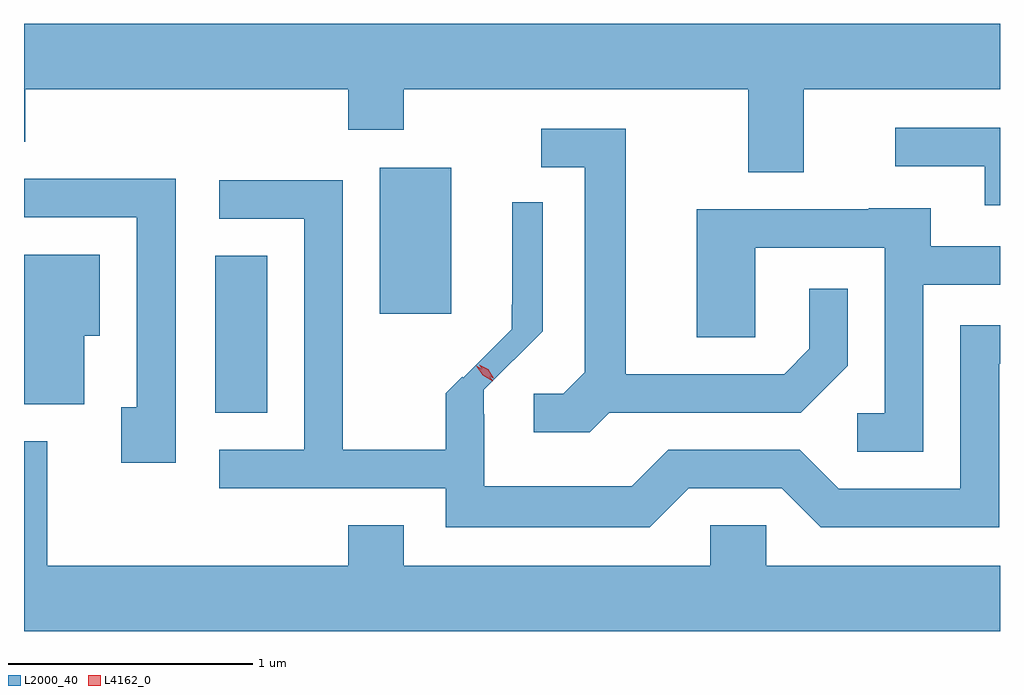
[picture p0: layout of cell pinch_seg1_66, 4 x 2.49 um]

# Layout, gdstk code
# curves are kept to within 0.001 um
import gdstk
lib = gdstk.Library(unit=1e-6, precision=1e-09)
def R(c, l, rs):  # rectangles x0, y0, x1, y1
    for r in rs: c.add(gdstk.rectangle(r[:2], r[2:], *l))
def P(c, l, *ps):  # polygons
    for p in ps: c.add(gdstk.Polygon(p, *l))
L2000_40 = (2000, 40)
L4162_0 = (4162, 0)

pinch_seg1_66 = lib.new_cell('pinch_seg1_66')
R(pinch_seg1_66, L2000_40, [(224.546,893.811,224.759,894.454), (225.221,894.216,225.514,894.814)])
P(pinch_seg1_66, L2000_40, [(226.959,895.136),(227.763,895.136),(227.763,895.404),(223.763,895.404),(223.763,894.921),(223.769,894.921),(223.769,895.136),(225.091,895.136),(225.091,894.971),(225.319,894.971),(225.319,895.136),(226.731,895.136),(226.731,894.796),(226.959,894.796)],
  [(227.763,894.979),(227.333,894.979),(227.333,894.821),(227.701,894.821),(227.701,894.661),(227.763,894.661)],
  [(226.162,893.811),(226.947,893.811),(227.139,894.004),(227.139,894.318),(226.981,894.318),(226.981,894.072),(226.879,893.969),(226.229,893.969),(226.229,894.974),(225.883,894.974),(225.883,894.816),(226.061,894.816),(226.061,893.977),(225.974,893.889),(225.853,893.889),(225.853,893.731),(226.082,893.731)],
  [(224.384,894.769),(223.763,894.769),(223.763,894.611),(224.226,894.611),(224.226,893.834),(224.161,893.834),(224.161,893.606),(224.384,893.606)],
  [(226.487,893.501),(226.869,893.501),(227.029,893.341),(227.759,893.341),(227.759,894.011),(227.763,894.011),(227.763,894.169),(227.601,894.169),(227.601,893.499),(227.102,893.499),(226.942,893.659),(226.404,893.659),(226.254,893.509),(225.649,893.509),(225.648,893.904),(225.889,894.145),(225.889,894.673),(225.763,894.673),(225.763,894.254),(225.761,894.254),(225.761,894.152),(225.564,893.955),(225.56,893.959),(225.491,893.89),(225.491,893.659),(225.069,893.659),(225.069,894.764),(224.563,894.764),(224.563,894.606),(224.911,894.606),(224.911,893.659),(224.563,893.659),(224.563,893.501),(225.491,893.501),(225.491,893.341),(226.327,893.341)],
  [(227.449,894.336),(227.763,894.336),(227.763,894.494),(227.479,894.494),(227.479,894.649),(227.225,894.649),(227.225,894.644),(226.521,894.644),(226.521,894.121),(226.759,894.121),(226.759,894.486),(227.291,894.486),(227.291,893.809),(227.178,893.809),(227.178,893.651),(227.449,893.651)],
  [(224.009,894.126),(224.074,894.126),(224.074,894.459),(223.763,894.459),(223.763,893.846),(224.009,893.846)],
  [(227.763,893.184),(226.804,893.184),(226.804,893.349),(226.576,893.349),(226.576,893.184),(225.319,893.184),(225.319,893.349),(225.091,893.349),(225.091,893.184),(223.859,893.184),(223.859,893.694),(223.763,893.694),(223.763,892.916),(227.763,892.916)])
P(pinch_seg1_66, L4162_0, [(225.687,893.952),(225.651,893.973),(225.628,894.007),(225.628,894.008),(225.628,894.008),(225.665,893.988),(225.688,893.953),(225.688,893.952)],
  [(225.684,893.94),(225.644,893.965),(225.616,894.003),(225.616,894.003),(225.617,894.003),(225.657,893.979),(225.685,893.941),(225.685,893.94)])

lib.write_gds('pinch_seg1_66.gds')
